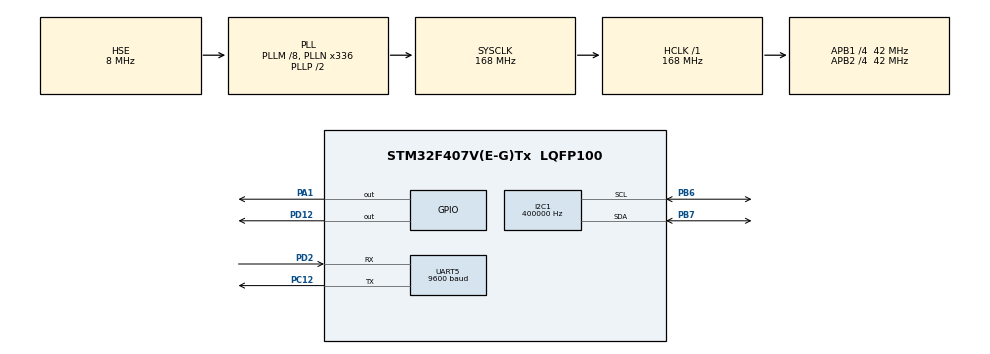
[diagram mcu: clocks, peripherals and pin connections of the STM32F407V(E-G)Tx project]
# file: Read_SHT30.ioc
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Dma.I2C1_RX.0.Direction=DMA_PERIPH_TO_MEMORY
Dma.I2C1_RX.0.FIFOMode=DMA_FIFOMODE_DISABLE
Dma.I2C1_RX.0.Instance=DMA1_Stream5
Dma.I2C1_RX.0.MemDataAlignment=DMA_MDATAALIGN_BYTE
Dma.I2C1_RX.0.MemInc=DMA_MINC_ENABLE
Dma.I2C1_RX.0.Mode=DMA_CIRCULAR
Dma.I2C1_RX.0.PeriphDataAlignment=DMA_PDATAALIGN_BYTE
Dma.I2C1_RX.0.PeriphInc=DMA_PINC_DISABLE
Dma.I2C1_RX.0.Priority=DMA_PRIORITY_LOW
Dma.I2C1_TX.1.Direction=DMA_MEMORY_TO_PERIPH
Dma.I2C1_TX.1.FIFOMode=DMA_FIFOMODE_DISABLE
Dma.I2C1_TX.1.Instance=DMA1_Stream6
Dma.I2C1_TX.1.MemDataAlignment=DMA_MDATAALIGN_BYTE
Dma.I2C1_TX.1.MemInc=DMA_MINC_ENABLE
Dma.I2C1_TX.1.Mode=DMA_CIRCULAR
Dma.I2C1_TX.1.PeriphDataAlignment=DMA_PDATAALIGN_BYTE
Dma.I2C1_TX.1.PeriphInc=DMA_PINC_DISABLE
Dma.I2C1_TX.1.Priority=DMA_PRIORITY_LOW
Dma.Request0=I2C1_RX
Dma.Request1=I2C1_TX
Dma.Request2=UART5_RX
Dma.Request3=UART5_TX
Dma.UART5_RX.2.Direction=DMA_PERIPH_TO_MEMORY
Dma.UART5_RX.2.FIFOMode=DMA_FIFOMODE_DISABLE
Dma.UART5_RX.2.Instance=DMA1_Stream0
Dma.UART5_RX.2.MemDataAlignment=DMA_MDATAALIGN_BYTE
Dma.UART5_RX.2.MemInc=DMA_MINC_ENABLE
Dma.UART5_RX.2.Mode=DMA_CIRCULAR
Dma.UART5_RX.2.PeriphDataAlignment=DMA_PDATAALIGN_BYTE
Dma.UART5_RX.2.PeriphInc=DMA_PINC_DISABLE
Dma.UART5_RX.2.Priority=DMA_PRIORITY_LOW
Dma.UART5_TX.3.Direction=DMA_MEMORY_TO_PERIPH
Dma.UART5_TX.3.FIFOMode=DMA_FIFOMODE_DISABLE
Dma.UART5_TX.3.Instance=DMA1_Stream7
Dma.UART5_TX.3.MemDataAlignment=DMA_MDATAALIGN_BYTE
Dma.UART5_TX.3.MemInc=DMA_MINC_ENABLE
Dma.UART5_TX.3.Mode=DMA_NORMAL
Dma.UART5_TX.3.PeriphDataAlignment=DMA_PDATAALIGN_BYTE
Dma.UART5_TX.3.PeriphInc=DMA_PINC_DISABLE
Dma.UART5_TX.3.Priority=DMA_PRIORITY_LOW
I2C1.ClockSpeed=400000
I2C1.I2C_Mode=I2C_Fast
Mcu.Family=STM32F4
Mcu.Name=STM32F407V(E-G)Tx
Mcu.Package=LQFP100
NVIC.DMA1_Stream0_IRQn=true\:0\:0\:false\:false\:true\:false\:true
NVIC.DMA1_Stream5_IRQn=true\:0\:0\:false\:false\:true\:false\:true
NVIC.DMA1_Stream6_IRQn=true\:0\:0\:false\:false\:true\:false\:true
NVIC.DMA1_Stream7_IRQn=true\:0\:0\:false\:false\:true\:false\:true
NVIC.I2C1_EV_IRQn=true\:0\:0\:false\:false\:true\:true\:true
NVIC.PriorityGroup=NVIC_PRIORITYGROUP_4
NVIC.TIM7_IRQn=true\:0\:0\:false\:false\:true\:true\:true
NVIC.UART5_IRQn=true\:0\:0\:false\:false\:true\:true\:true
PA1.Signal=GPIO_Output
PB6.Mode=I2C
PB6.Signal=I2C1_SCL
PB7.Mode=I2C
PB7.Signal=I2C1_SDA
PC12.Mode=Asynchronous
PC12.Signal=UART5_TX
PD12.Signal=GPIO_Output
PD2.Mode=Asynchronous
PD2.Signal=UART5_RX
PH0-OSC_IN.Mode=HSE-External-Oscillator
PH0-OSC_IN.Signal=RCC_OSC_IN
PH1-OSC_OUT.Mode=HSE-External-Oscillator
PH1-OSC_OUT.Signal=RCC_OSC_OUT
ProjectManager.HeapSize=0x200
ProjectManager.StackSize=0x400
ProjectManager.TargetToolchain=MDK-ARM V5
RCC.48MHZClocksFreq_Value=84000000
RCC.AHBFreq_Value=168000000
RCC.APB1CLKDivider=RCC_HCLK_DIV4
RCC.APB1Freq_Value=42000000
RCC.APB1TimFreq_Value=84000000
RCC.APB2CLKDivider=RCC_HCLK_DIV4
RCC.APB2Freq_Value=42000000
RCC.APB2TimFreq_Value=84000000
RCC.CortexFreq_Value=168000000
RCC.HCLKFreq_Value=168000000
RCC.HSE_VALUE=8000000
RCC.HSI_VALUE=16000000
RCC.LSE_VALUE=32768
RCC.PLLM=8
RCC.PLLN=336
RCC.PLLSourceVirtual=RCC_PLLSOURCE_HSE
RCC.SYSCLKFreq_VALUE=168000000
RCC.SYSCLKSource=RCC_SYSCLKSOURCE_PLLCLK
RCC.VCOOutputFreq_Value=336000000
TIM7.AutoReloadPreload=TIM_AUTORELOAD_PRELOAD_ENABLE
TIM7.Period=9999
TIM7.Prescaler=8399
UART5.BaudRate=9600
UART5.VirtualMode=Asynchronous
VP_TIM7_VS_ClockSourceINT.Mode=Enable_Timer
board=custom

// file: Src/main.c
/* USER CODE BEGIN Header */
/**
  ******************************************************************************
  * @file           : main.c
  * @brief          : Main program body
  ******************************************************************************
  * @attention
  *
  * <h2><center>&copy; Copyright (c) 2020 STMicroelectronics.
  * All rights reserved.</center></h2>
  *
  * This software component is licensed by ST under BSD 3-Clause license,
  * the "License"; You may not use this file except in compliance with the
  * License. You may obtain a copy of the License at:
  *                        opensource.org/licenses/BSD-3-Clause
  *
  ******************************************************************************
  */
/* USER CODE END Header */

#include "main.h"

/* USER CODE BEGIN PD */
#define SHT30 0x44
/* USER CODE END PD */

I2C_HandleTypeDef hi2c1;
DMA_HandleTypeDef hdma_i2c1_rx;
DMA_HandleTypeDef hdma_i2c1_tx;

TIM_HandleTypeDef htim7;

UART_HandleTypeDef huart5;
DMA_HandleTypeDef hdma_uart5_rx;
DMA_HandleTypeDef hdma_uart5_tx;

/* USER CODE BEGIN PV */
volatile uint8_t ACK_to_send=0;
volatile uint8_t flag=1;
uint8_t soft_reset[2] = {0x30,0x2A};
uint8_t break_cmd[2] = {0x30,0x93};
uint8_t single_shot[2]= {0x2C, 0x06};
uint8_t periodic[2]= {0x22, 0x36};
uint8_t fetch[2] = {0xE0, 0x00};
uint8_t receive[6]={0x00, 0x00, 0x00, 0x00, 0x00, 0x00};
uint8_t test[2] = {0x21, 0x25};
//uint8_t send_data_uart[6]={48,49,50,51,52,53}, receive_data_uart[4]={0,0,0,0};
uint8_t Send_UART[11];
uint8_t Received_UART[8];
uint32_t count;
double temperature = 100;
double temperature_pre =100;
double humidity;
double humidity_pre;
double temperature_set = 50;
double temperature_max = 70;
uint8_t run = 0;
uint8_t Receive_error;
uint8_t auto_mode =1;
/* USER CODE END PV */

void SystemClock_Config(void);
static void MX_GPIO_Init(void);
static void MX_DMA_Init(void);
static void MX_I2C1_Init(void);
static void MX_TIM7_Init(void);
static void MX_UART5_Init(void);
/* USER CODE BEGIN PFP */
void I2C_ReInit(void)
{
    MX_I2C1_Init();
}
static uint8_t crc8(const uint8_t *data, int len) {
	const uint8_t POLYNOMIAL = 0x31;
  uint8_t crc = 0xFF;
	for (int j = len; j; --j) {
    crc ^= *data++;

    for (int i = 8; i; --i) {
      crc = (crc & 0x80) ? (crc << 1) ^ POLYNOMIAL : (crc << 1);
    }
  }
	return crc;
}

static double calculate_temperature(uint8_t MSB, uint8_t LSB, uint8_t crc)
{
	uint8_t data[2] ={MSB, LSB};
	uint8_t crc_calculated = crc8(data,2);
	if (crc == crc_calculated)
	{temperature_pre = temperature;
	return( 175*((double)MSB*256 + (double)LSB)/65535 -45);
	}
	else return(temperature_pre);
}

static double calculate_humidity(uint8_t MSB, uint8_t LSB, uint8_t crc)
{	uint8_t data[2] ={MSB, LSB};
	uint8_t crc_calculated = crc8(data,2);
	if (crc == crc_calculated)
	{humidity_pre = humidity;
	return( 100*((double)MSB*256 + (double)LSB)/65535);
	}
	else return(humidity_pre);
}

void SHT30_initialize()
{
	HAL_Delay(100);
	HAL_I2C_Master_Transmit(&hi2c1, SHT30<<1, break_cmd, 2, 100);
	//HAL_I2C_Master_Transmit_DMA(&hi2c1, SHT30<<1, break_cmd, 2);
	HAL_Delay(100);
	HAL_I2C_Master_Transmit(&hi2c1, SHT30<<1, soft_reset, 2, 100);
	//HAL_I2C_Master_Transmit_DMA(&hi2c1, SHT30<<1, soft_reset, 2);
	HAL_Delay(100);
	HAL_I2C_Master_Transmit(&hi2c1, SHT30<<1, periodic, 2, 100);
	//HAL_I2C_Master_Transmit_DMA(&hi2c1, SHT30<<1, periodic, 2);
	HAL_Delay(100);
}

void SHT30_check_connection(double temperature, double temperature_pre, double humidity, double humidity_pre)
{
	static int times;
	if (temperature == temperature_pre & humidity == humidity_pre)
	{
		times ++;
	}
	else
	{
		times =0;
	}
	if( times > 4)
	{
		HAL_GPIO_WritePin(GPIOA, GPIO_PIN_1, GPIO_PIN_RESET);
		HAL_NVIC_SystemReset();
	}
}
void Pack_data_to_send_UART(uint8_t *receive, uint8_t ACK_send)
{
	Send_UART[0]=0x53;// STX[1] (character S)
	Send_UART[1]=0x65;// STX[2] (character e)
	if (ACK_send ==1)
	{
		Send_UART[8]=0x2B;//ACK (character +)
	}
	else
	{
	Send_UART[8]=0x2D; //Not ACK (character -)
	}
	Send_UART[9]=0x45;// ETX[1] (character E)
	Send_UART[10]=0x6e;// ETX[2] (character n)
	for (int i=0; i<6; i++)
		{
				Send_UART[i+2] = receive[i];
		}
}

uint8_t Process_UART_received(uint8_t Receive_UART[8])
{
	if(Receive_UART[0]=0x53, Receive_UART[1]=0x65, Receive_UART[6]=0x45, Receive_UART[7]=0x6e)
	{
		if (Receive_UART[2] == 0x54)
		{
				uint8_t data[2] ={Receive_UART[3], Receive_UART[4]};
				if (Receive_UART[5] == crc8(data,2))
				{
					temperature_set = calculate_temperature(Receive_UART[3],Receive_UART[4], Receive_UART[5]);
					return(0);
				}
				else
				{
					return(1);
				}
		}
		if (Receive_UART[2] == 0x52)
		{
			run =1;
			return(0);
		}
		if (Receive_UART[2] == 0x50)
		{
			run =0;
			return(0);
		}
	}
		return(1);
}

void control_on_off(uint8_t auto_mode, uint8_t run, double temperature, double temperature_set)
{
	if (temperature < temperature_max)
	{
			if (auto_mode == 0)
			{
				if (run == 1)
				{
					if ((temperature_set - 0.1) > temperature) //-deadband
					{
						HAL_GPIO_WritePin(GPIOA, GPIO_PIN_1, GPIO_PIN_SET);
					}
					if ((temperature_set) < temperature) //+deadband
					{
						HAL_GPIO_WritePin(GPIOA, GPIO_PIN_1, GPIO_PIN_RESET);
					}
				}
				else
				{
					HAL_GPIO_WritePin(GPIOA, GPIO_PIN_1, GPIO_PIN_RESET);
				}
			}
			if (auto_mode ==1)
			{
				if ((temperature_set - 0.1) > temperature) //-deadband
				{
					HAL_GPIO_WritePin(GPIOA, GPIO_PIN_1, GPIO_PIN_SET);
				}
				if ((temperature_set) < temperature) //+deadband
				{
					HAL_GPIO_WritePin(GPIOA, GPIO_PIN_1, GPIO_PIN_RESET);
				}
			}

	}
	if (temperature >= temperature_max)
	{
		HAL_GPIO_WritePin(GPIOA, GPIO_PIN_1, GPIO_PIN_RESET);
	}
}
/* USER CODE END PFP */

int main(void)
                                                                            {

  /* MCU Configuration--------------------------------------------------------*/

  /* Reset of all peripherals, Initializes the Flash interface and the Systick. */
  HAL_Init();

  /* Configure the system clock */
  SystemClock_Config();

  /* Initialize all configured peripherals */
  MX_GPIO_Init();
  MX_DMA_Init();
  MX_I2C1_Init();
  MX_TIM7_Init();
  MX_UART5_Init();
  /* USER CODE BEGIN 2 */
	//HAL_NVIC_SetPriority(TIM7_IRQn,0 ,1);
	//HAL_NVIC_EnableIRQ(TIM7_IRQn);

	SHT30_initialize();
	HAL_TIM_Base_Start_IT(&htim7);
	HAL_UART_Receive_DMA (&huart5, Received_UART, 8);
  /* USER CODE END 2 */

  /* Infinite loop */
  /* USER CODE BEGIN WHILE */
  while (1)
  {
		//HAL_I2C_Master_Transmit(&hi2c1, SHT30<<1, fetch, 2, 100);
		HAL_I2C_Master_Transmit_DMA(&hi2c1, SHT30<<1, fetch, 2);
		HAL_Delay(10);
		//HAL_I2C_Master_Receive(&hi2c1, SHT30<<1, receive, 6, 100);
		HAL_I2C_Master_Receive_DMA(&hi2c1, SHT30<<1, receive, 6);
		HAL_Delay(500);
		//HAL_GPIO_TogglePin(GPIOD, GPIO_PIN_12);
		temperature = calculate_temperature(receive[0], receive[1], receive[2]);
		humidity = calculate_humidity(receive[3], receive[4], receive[5]);
		SHT30_check_connection(temperature, temperature_pre, humidity, humidity_pre);
		Pack_data_to_send_UART(receive, ACK_to_send); //Save in Send_UART[10]
		HAL_UART_Transmit_DMA(&huart5, Send_UART, 11);
		ACK_to_send = 0;
		control_on_off(auto_mode, run, temperature, temperature_set);
		//HAL_UART_Receive_DMA (&huart5, Received_UART, 8);
		while(flag==1);
		flag=1;
    /* USER CODE END WHILE */

  }
}

void SystemClock_Config(void)
{
  RCC_OscInitTypeDef RCC_OscInitStruct = {0};
  RCC_ClkInitTypeDef RCC_ClkInitStruct = {0};

  /** Configure the main internal regulator output voltage
  */
  __HAL_RCC_PWR_CLK_ENABLE();
  __HAL_PWR_VOLTAGESCALING_CONFIG(PWR_REGULATOR_VOLTAGE_SCALE1);
  /** Initializes the CPU, AHB and APB busses clocks
  */
  RCC_OscInitStruct.OscillatorType = RCC_OSCILLATORTYPE_HSE;
  RCC_OscInitStruct.HSEState = RCC_HSE_ON;
  RCC_OscInitStruct.PLL.PLLState = RCC_PLL_ON;
  RCC_OscInitStruct.PLL.PLLSource = RCC_PLLSOURCE_HSE;
  RCC_OscInitStruct.PLL.PLLM = 8;
  RCC_OscInitStruct.PLL.PLLN = 336;
  RCC_OscInitStruct.PLL.PLLP = RCC_PLLP_DIV2;
  RCC_OscInitStruct.PLL.PLLQ = 4;
  if (HAL_RCC_OscConfig(&RCC_OscInitStruct) != HAL_OK)
  {
    Error_Handler();
  }
  /** Initializes the CPU, AHB and APB busses clocks
  */
  RCC_ClkInitStruct.ClockType = RCC_CLOCKTYPE_HCLK|RCC_CLOCKTYPE_SYSCLK
                              |RCC_CLOCKTYPE_PCLK1|RCC_CLOCKTYPE_PCLK2;
  RCC_ClkInitStruct.SYSCLKSource = RCC_SYSCLKSOURCE_PLLCLK;
  RCC_ClkInitStruct.AHBCLKDivider = RCC_SYSCLK_DIV1;
  RCC_ClkInitStruct.APB1CLKDivider = RCC_HCLK_DIV4;
  RCC_ClkInitStruct.APB2CLKDivider = RCC_HCLK_DIV4;

  if (HAL_RCC_ClockConfig(&RCC_ClkInitStruct, FLASH_LATENCY_5) != HAL_OK)
  {
    Error_Handler();
  }
}

static void MX_I2C1_Init(void)
{

  hi2c1.Instance = I2C1;
  hi2c1.Init.ClockSpeed = 400000;
  hi2c1.Init.DutyCycle = I2C_DUTYCYCLE_2;
  hi2c1.Init.OwnAddress1 = 0;
  hi2c1.Init.AddressingMode = I2C_ADDRESSINGMODE_7BIT;
  hi2c1.Init.DualAddressMode = I2C_DUALADDRESS_DISABLE;
  hi2c1.Init.OwnAddress2 = 0;
  hi2c1.Init.GeneralCallMode = I2C_GENERALCALL_DISABLE;
  hi2c1.Init.NoStretchMode = I2C_NOSTRETCH_DISABLE;
  if (HAL_I2C_Init(&hi2c1) != HAL_OK)
  {
    Error_Handler();
  }
  /* USER CODE BEGIN I2C1_Init 2 */
	HAL_NVIC_SetPriority(I2C1_EV_IRQn, 1, 0);
	HAL_NVIC_EnableIRQ(I2C1_EV_IRQn);
  /* USER CODE END I2C1_Init 2 */

}

static void MX_TIM7_Init(void)
{

  TIM_MasterConfigTypeDef sMasterConfig = {0};

  htim7.Instance = TIM7;
  htim7.Init.Prescaler = 8399;
  htim7.Init.CounterMode = TIM_COUNTERMODE_UP;
  htim7.Init.Period = 9999;
  htim7.Init.AutoReloadPreload = TIM_AUTORELOAD_PRELOAD_ENABLE;
  if (HAL_TIM_Base_Init(&htim7) != HAL_OK)
  {
    Error_Handler();
  }
  sMasterConfig.MasterOutputTrigger = TIM_TRGO_RESET;
  sMasterConfig.MasterSlaveMode = TIM_MASTERSLAVEMODE_DISABLE;
  if (HAL_TIMEx_MasterConfigSynchronization(&htim7, &sMasterConfig) != HAL_OK)
  {
    Error_Handler();
  }
  /* USER CODE BEGIN TIM7_Init 2 */
	__HAL_TIM_CLEAR_FLAG(&htim7, TIM_SR_UIF); // Clear first Interrupt
  /* USER CODE END TIM7_Init 2 */

}

static void MX_UART5_Init(void)
{

  huart5.Instance = UART5;
  huart5.Init.BaudRate = 9600;
  huart5.Init.WordLength = UART_WORDLENGTH_8B;
  huart5.Init.StopBits = UART_STOPBITS_1;
  huart5.Init.Parity = UART_PARITY_NONE;
  huart5.Init.Mode = UART_MODE_TX_RX;
  huart5.Init.HwFlowCtl = UART_HWCONTROL_NONE;
  huart5.Init.OverSampling = UART_OVERSAMPLING_16;
  if (HAL_UART_Init(&huart5) != HAL_OK)
  {
    Error_Handler();
  }

}

static void MX_DMA_Init(void)
{

  /* DMA controller clock enable */
  __HAL_RCC_DMA1_CLK_ENABLE();

  /* DMA interrupt init */
  /* DMA1_Stream0_IRQn interrupt configuration */
  HAL_NVIC_SetPriority(DMA1_Stream0_IRQn, 0, 0);
  HAL_NVIC_EnableIRQ(DMA1_Stream0_IRQn);
  /* DMA1_Stream5_IRQn interrupt configuration */
  HAL_NVIC_SetPriority(DMA1_Stream5_IRQn, 0, 0);
  HAL_NVIC_EnableIRQ(DMA1_Stream5_IRQn);
  /* DMA1_Stream6_IRQn interrupt configuration */
  HAL_NVIC_SetPriority(DMA1_Stream6_IRQn, 0, 0);
  HAL_NVIC_EnableIRQ(DMA1_Stream6_IRQn);
  /* DMA1_Stream7_IRQn interrupt configuration */
  HAL_NVIC_SetPriority(DMA1_Stream7_IRQn, 0, 0);
  HAL_NVIC_EnableIRQ(DMA1_Stream7_IRQn);

}

static void MX_GPIO_Init(void)

{
  GPIO_InitTypeDef GPIO_InitStruct = {0};

  /* GPIO Ports Clock Enable */
  __HAL_RCC_GPIOH_CLK_ENABLE();
  __HAL_RCC_GPIOA_CLK_ENABLE();
  __HAL_RCC_GPIOD_CLK_ENABLE();
  __HAL_RCC_GPIOC_CLK_ENABLE();
  __HAL_RCC_GPIOB_CLK_ENABLE();

  /*Configure GPIO pin Output Level */
  HAL_GPIO_WritePin(GPIOA, GPIO_PIN_1, GPIO_PIN_RESET);

  /*Configure GPIO pin Output Level */
  HAL_GPIO_WritePin(GPIOD, GPIO_PIN_12, GPIO_PIN_RESET);

  /*Configure GPIO pin : PA1 */
  GPIO_InitStruct.Pin = GPIO_PIN_1;
  GPIO_InitStruct.Mode = GPIO_MODE_OUTPUT_PP;
  GPIO_InitStruct.Pull = GPIO_NOPULL;
  GPIO_InitStruct.Speed = GPIO_SPEED_FREQ_LOW;
  HAL_GPIO_Init(GPIOA, &GPIO_InitStruct);

  /*Configure GPIO pin : PD12 */
  GPIO_InitStruct.Pin = GPIO_PIN_12;
  GPIO_InitStruct.Mode = GPIO_MODE_OUTPUT_PP;
  GPIO_InitStruct.Pull = GPIO_NOPULL;
  GPIO_InitStruct.Speed = GPIO_SPEED_FREQ_LOW;
  HAL_GPIO_Init(GPIOD, &GPIO_InitStruct);

}

/* USER CODE BEGIN 4 */
void HAL_I2C_MasterTxCpltCallback(I2C_HandleTypeDef *hi2c)
{if (hi2c->Instance==hi2c1.Instance)
	{
		HAL_DMA_Abort_IT(hi2c->hdmatx);
	}
}

void HAL_I2C_MasterRxCpltCallback(I2C_HandleTypeDef *hi2c)
{if (hi2c->Instance==hi2c1.Instance)
	{
		HAL_DMA_Abort_IT(hi2c->hdmarx);
	}
}

void HAL_TIM_PeriodElapsedCallback(TIM_HandleTypeDef *htim)
{
	if(htim->Instance==htim7.Instance)
	{
		flag=0;
	__HAL_TIM_CLEAR_FLAG(&htim7, TIM_FLAG_UPDATE);
		HAL_GPIO_TogglePin(GPIOD, GPIO_PIN_12);
		count++;
	}
}

void HAL_UART_RxCpltCallback(UART_HandleTypeDef *huart)
{
	if (huart->Instance == huart5.Instance)
	{
		auto_mode = 0;
		Receive_error = Process_UART_received(Received_UART);
		if (Receive_error == 0)
		{
			ACK_to_send = 1;
		}
	}
}

/* USER CODE END 4 */

void Error_Handler(void)
{
}

/************************ (C) COPYRIGHT STMicroelectronics *****END OF FILE****/
